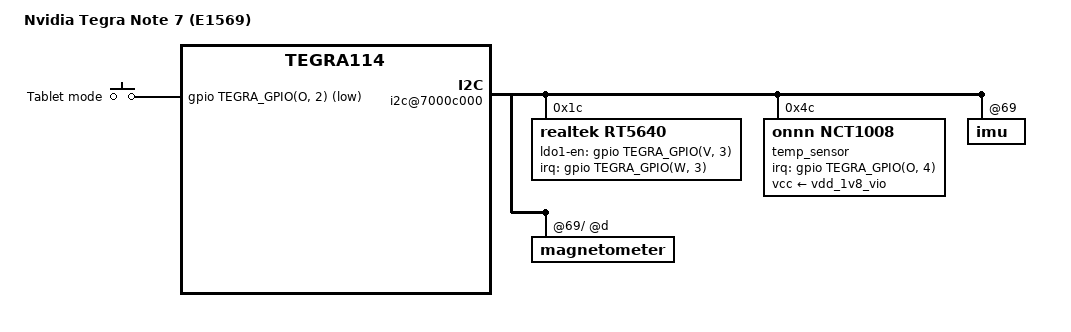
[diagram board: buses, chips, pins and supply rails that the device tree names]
// SPDX-License-Identifier: GPL-2.0
/dts-v1/;

#include "tegra114-nvidia-tegratab-common.dtsi"

/ {
	model = "Nvidia Tegra Note 7 (E1569)";

	serial@70006200 {
		bluetooth {
			clocks = <&tegra_pmc TEGRA_PMC_CLK_BLINK>;
			clock-names = "ext_clock";

			enable-gpios = <&gpio TEGRA_GPIO(Q, 7) GPIO_ACTIVE_HIGH>;
		};
	};

	i2c@7000c000 {
		rt5640: audio-codec@1c {
			compatible = "realtek,rt5640";
			reg = <0x1c>;

			interrupt-parent = <&gpio>;
			interrupts = <TEGRA_GPIO(W, 3) IRQ_TYPE_LEVEL_HIGH>;

			realtek,ldo1-en-gpios =
				<&gpio TEGRA_GPIO(V, 3) GPIO_ACTIVE_HIGH>;

// codec 1/2/3 en
//#define TEGRA_GPIO_CODEC1_EN	TEGRA_GPIO_PP3
//#define TEGRA_GPIO_CODEC2_EN	TEGRA_GPIO_PP1
//#define TEGRA_GPIO_CODEC3_EN	TEGRA_GPIO_PV0

			clocks = <&tegra_pmc TEGRA_PMC_CLK_OUT_1>;
			clock-names = "mclk";
		};

		temp_sensor: temperature-sensor@4c {
			compatible = "onnn,nct1008";
			reg = <0x4c>;

			interrupt-parent = <&gpio>;
			interrupts = <TEGRA_GPIO(O, 4) IRQ_TYPE_EDGE_FALLING>;

			vcc-supply = <&vdd_1v8_vio>;
			#thermal-sensor-cells = <1>;
		};

		imu@69 {
			mount-matrix = "-1",  "0",  "0",
					"0", "-1",  "0",
					"0",  "0",  "1";

			i2c-gate {
				magnetometer@d {
					mount-matrix = "-1",  "0",  "0",
							"0", "-1",  "0",
							"0",  "0",  "1";
				};
			};
		};

	};

	extcon-keys {
		compatible = "gpio-keys";

		switch-tablet-mode {
			label = "Tablet mode";
			gpios = <&gpio TEGRA_GPIO(O, 2) GPIO_ACTIVE_LOW>;
			linux,code = <SW_TABLET_MODE>;
			wakeup-source;
		};
	};

	gpio-keys {
		key-volume-down {
			label = "Volume Down";
			gpios = <&gpio TEGRA_GPIO(R, 1) GPIO_ACTIVE_LOW>;
			linux,code = <KEY_VOLUMEDOWN>;
			debounce-interval = <30>;
		};
	};

	pwrseq-wifi {
		compatible = "mmc-pwrseq-simple";

		clocks = <&tegra_pmc TEGRA_PMC_CLK_BLINK>;
		clock-names = "ext_clock";
	};

	regulator-ts {
		gpio = <&gpio TEGRA_GPIO(H, 4) GPIO_ACTIVE_HIGH>;
		enable-active-high;
	};

	sound {
		compatible = "nvidia,tegra-audio-rt5640-tegratab",
			     "nvidia,tegra-audio-rt5640";
		nvidia,model = "Nvidia Tegra Note 7 RT5640";

		nvidia,audio-codec = <&rt5640>;
	};

	thermal-zones {
		/*
		 * NCT72 has two sensors:
		 *
		 *	0: internal that monitors ambient/skin temperature
		 *	1: external that is connected to the CPU's diode
		 *
		 * Ideally we should use userspace thermal governor,
		 * but it's a much more complex solution.  The "skin"
		 * zone exists as a simpler solution which prevents
		 * tablet from getting too hot from a user's tactile
		 * perspective. The CPU zone is intended to protect
		 * silicon from damage.
		 */

		nct72-skin-thermal {
			polling-delay-passive = <1100>; /* milliseconds */
			polling-delay = <15000>; /* milliseconds */

			thermal-sensors = <&temp_sensor 0>;

			trips {
				skip_alert_trip: skin-alert {
					/* throttle at 57C until temperature drops to 56.5C */
					temperature = <57000>;
					hysteresis = <500>;
					type = "passive";
				};

				skin-crit {
					/* shut down at 65C */
					temperature = <65000>;
					hysteresis = <2000>;
					type = "critical";
				};
			};

			cooling-maps {
				map-skip {
					trip = <&skip_alert_trip>;
					cooling-device = <&cpu0 THERMAL_NO_LIMIT THERMAL_NO_LIMIT>,
							 <&cpu1 THERMAL_NO_LIMIT THERMAL_NO_LIMIT>,
							 <&cpu2 THERMAL_NO_LIMIT THERMAL_NO_LIMIT>,
							 <&cpu3 THERMAL_NO_LIMIT THERMAL_NO_LIMIT>;
				};
			};
		};

		nct72-cpu-thermal {
			polling-delay-passive = <1100>; /* milliseconds */
			polling-delay = <15000>; /* milliseconds */

			thermal-sensors = <&temp_sensor 1>;

			trips {
				cpu_alert_trip: cpu-alert {
					/* throttle at 75C until temperature drops to 74.5C */
					temperature = <75000>;
					hysteresis = <500>;
					type = "passive";
				};

				cpu-crit {
					/* shut down at 105C */
					temperature = <105000>;
					hysteresis = <2000>;
					type = "critical";
				};
			};

			cooling-maps {
				map-cpu {
					trip = <&cpu_alert_trip>;
					cooling-device = <&cpu0 THERMAL_NO_LIMIT THERMAL_NO_LIMIT>,
							 <&cpu1 THERMAL_NO_LIMIT THERMAL_NO_LIMIT>,
							 <&cpu2 THERMAL_NO_LIMIT THERMAL_NO_LIMIT>,
							 <&cpu3 THERMAL_NO_LIMIT THERMAL_NO_LIMIT>;
				};
			};
		};
	};
};
